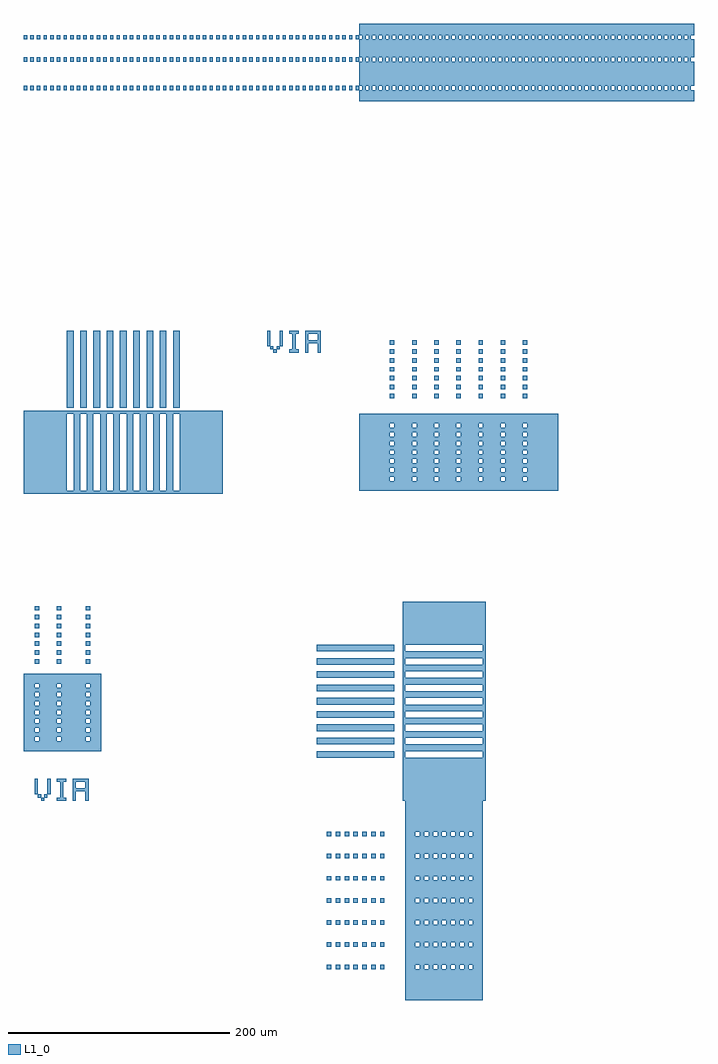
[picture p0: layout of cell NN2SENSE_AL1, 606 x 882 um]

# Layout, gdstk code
import gdstk
lib = gdstk.Library(unit=1e-6, precision=1e-09)
def R(c, l, rs):  # rectangles x0, y0, x1, y1
    for r in rs: c.add(gdstk.rectangle(r[:2], r[2:], *l))
def A(c, l, x, y, w, h, nx, ny, dx, dy):  # array of equal rectangles
    R(c, l, [(x+i*dx, y+j*dy, x+i*dx+w, y+j*dy+h) for i in range(nx) for j in range(ny)])
def P(c, l, *ps):  # polygons
    for p in ps: c.add(gdstk.Polygon(p, *l))
L1_0 = (1, 0)

x5_search_wx_n_skill_0 = lib.new_cell('x5_Search_Wx_N_SKILL_0')
A(x5_search_wx_n_skill_0, L1_0, -22, -26, 4, 4, 1, 7, 0, 8)
A(x5_search_wx_n_skill_0, L1_0, -2, -26, 4, 4, 1, 7, 0, 8)
A(x5_search_wx_n_skill_0, L1_0, 24, -26, 4, 4, 1, 7, 0, 8)

x5_search_wx_p_skill_1 = lib.new_cell('x5_Search_Wx_P_SKILL_1')
P(x5_search_wx_p_skill_1, L1_0, [(-32,-35),(38,-35),(38,35),(-32,35),(-32,26),(28,26),(28,22),(24,22),(24,26),(2,26),(2,22),(-2,22),(-2,26),(-18,26),(-18,22),(-22,22),(-22,26),(-32,26),(-32,18),(28,18),(28,14),(24,14),(24,18),(2,18),(2,14),(-2,14),(-2,18),(-18,18),(-18,14),(-22,14),(-22,18),(-32,18),(-32,10),(28,10),(28,6),(24,6),(24,10),(2,10),(2,6),(-2,6),(-2,10),(-18,10),(-18,6),(-22,6),(-22,10),(-32,10),(-32,2),(28,2),(28,-2),(24,-2),(24,2),(2,2),(2,-2),(-2,-2),(-2,2),(-18,2),(-18,-2),(-22,-2),(-22,2),(-32,2),(-32,-6),(28,-6),(28,-10),(24,-10),(24,-6),(2,-6),(2,-10),(-2,-10),(-2,-6),(-18,-6),(-18,-10),(-22,-10),(-22,-6),(-32,-6),(-32,-14),(28,-14),(28,-18),(24,-18),(24,-14),(2,-14),(2,-18),(-2,-18),(-2,-14),(-18,-14),(-18,-18),(-22,-18),(-22,-14),(-32,-14),(-32,-22),(28,-22),(28,-26),(24,-26),(24,-22),(2,-22),(2,-26),(-2,-26),(-2,-22),(-18,-22),(-18,-26),(-22,-26),(-22,-22),(-32,-22)])

x5_fiax_type1_n_skill_2 = lib.new_cell('x5_FIAx_Type1_N_SKILL_2')
A(x5_fiax_type1_n_skill_2, L1_0, -51, -35, 6, 70, 9, 1, 12, 0)

x5_fiax_type1_p_skill_3 = lib.new_cell('x5_FIAx_Type1_P_SKILL_3')
P(x5_fiax_type1_p_skill_3, L1_0, [(-90,-37.5),(90,-37.5),(90,37.5),(-90,37.5),(-90,35),(51,35),(51,-35),(45,-35),(45,35),(39,35),(39,-35),(33,-35),(33,35),(27,35),(27,-35),(21,-35),(21,35),(15,35),(15,-35),(9,-35),(9,35),(3,35),(3,-35),(-3,-35),(-3,35),(-9,35),(-9,-35),(-15,-35),(-15,35),(-21,35),(-21,-35),(-27,-35),(-27,35),(-33,35),(-33,-35),(-39,-35),(-39,35),(-45,35),(-45,-35),(-51,-35),(-51,35),(-90,35)])

x5_search_wy_n_skill_4 = lib.new_cell('x5_Search_Wy_N_SKILL_4')
A(x5_search_wy_n_skill_4, L1_0, -151.5, -28, 3, 4, 51, 2, 6, 26)
A(x5_search_wy_n_skill_4, L1_0, -151.5, 18, 3, 4, 51, 1, 6, 0)

x5_lsa7y_n_skill_5 = lib.new_cell('x5_LSA7y_N_SKILL_5')
A(x5_lsa7y_n_skill_5, L1_0, -26, -62, 4, 4, 7, 7, 8, 20)

x5_fiay_type1_n_skill_6 = lib.new_cell('x5_FIAy_Type1_N_SKILL_6')
A(x5_fiay_type1_n_skill_6, L1_0, -35, -51, 70, 6, 1, 9, 0, 12)
x5_fiay_type1_n_skill_6.add(gdstk.FlexPath([(-37.5,0),(37.5,0)], 0, ends="flush", simple_path=True, layer=1, datatype=0))  # L1_0

x5_lsa7y_p_skill_7 = lib.new_cell('x5_LSA7y_P_SKILL_7')
P(x5_lsa7y_p_skill_7, L1_0, [(35,2),(35,90),(-35,90),(-35,62),(26,62),(26,58),(22,58),(22,62),(18,62),(18,58),(14,58),(14,62),(10,62),(10,58),(6,58),(6,62),(2,62),(2,58),(-2,58),(-2,62),(-6,62),(-6,58),(-10,58),(-10,62),(-14,62),(-14,58),(-18,58),(-18,62),(-22,62),(-22,58),(-26,58),(-26,62),(-35,62),(-35,42),(26,42),(26,38),(22,38),(22,42),(18,42),(18,38),(14,38),(14,42),(10,42),(10,38),(6,38),(6,42),(2,42),(2,38),(-2,38),(-2,42),(-6,42),(-6,38),(-10,38),(-10,42),(-14,42),(-14,38),(-18,38),(-18,42),(-22,42),(-22,38),(-26,38),(-26,42),(-35,42),(-35,22),(26,22),(26,18),(22,18),(22,22),(18,22),(18,18),(14,18),(14,22),(10,22),(10,18),(6,18),(6,22),(2,22),(2,18),(-2,18),(-2,22),(-6,22),(-6,18),(-10,18),(-10,22),(-14,22),(-14,18),(-18,18),(-18,22),(-22,22),(-22,18),(-26,18),(-26,22),(-35,22),(-35,2)],
  [(-35,-90),(35,-90),(35,2),(26,2),(26,-2),(22,-2),(22,2),(18,2),(18,-2),(14,-2),(14,2),(10,2),(10,-2),(6,-2),(6,2),(2,2),(2,-2),(-2,-2),(-2,2),(-6,2),(-6,-2),(-10,-2),(-10,2),(-14,2),(-14,-2),(-18,-2),(-18,2),(-22,2),(-22,-2),(-26,-2),(-26,2),(-35,2),(-35,-18),(26,-18),(26,-22),(22,-22),(22,-18),(18,-18),(18,-22),(14,-22),(14,-18),(10,-18),(10,-22),(6,-22),(6,-18),(2,-18),(2,-22),(-2,-22),(-2,-18),(-6,-18),(-6,-22),(-10,-22),(-10,-18),(-14,-18),(-14,-22),(-18,-22),(-18,-18),(-22,-18),(-22,-22),(-26,-22),(-26,-18),(-35,-18),(-35,-38),(26,-38),(26,-42),(22,-42),(22,-38),(18,-38),(18,-42),(14,-42),(14,-38),(10,-38),(10,-42),(6,-42),(6,-38),(2,-38),(2,-42),(-2,-42),(-2,-38),(-6,-38),(-6,-42),(-10,-42),(-10,-38),(-14,-38),(-14,-42),(-18,-42),(-18,-38),(-22,-38),(-22,-42),(-26,-42),(-26,-38),(-35,-38),(-35,-58),(26,-58),(26,-62),(22,-62),(22,-58),(18,-58),(18,-62),(14,-62),(14,-58),(10,-58),(10,-62),(6,-62),(6,-58),(2,-58),(2,-62),(-2,-62),(-2,-58),(-6,-58),(-6,-62),(-10,-62),(-10,-58),(-14,-58),(-14,-62),(-18,-62),(-18,-58),(-22,-58),(-22,-62),(-26,-62),(-26,-58),(-35,-58)])

x5_fiay_type1_p_skill_8 = lib.new_cell('x5_FIAy_Type1_P_SKILL_8')
P(x5_fiay_type1_p_skill_8, L1_0, [(-37.5,-90),(37.5,-90),(37.5,90),(-37.5,90),(-37.5,51),(35,51),(35,45),(-35,45),(-35,51),(-37.5,51),(-37.5,39),(35,39),(35,33),(-35,33),(-35,39),(-37.5,39),(-37.5,27),(35,27),(35,21),(-35,21),(-35,27),(-37.5,27),(-37.5,15),(35,15),(35,9),(-35,9),(-35,15),(-37.5,15),(-37.5,3),(35,3),(35,-3),(-35,-3),(-35,3),(-37.5,3),(-37.5,-9),(35,-9),(35,-15),(-35,-15),(-35,-9),(-37.5,-9),(-37.5,-21),(35,-21),(35,-27),(-35,-27),(-35,-21),(-37.5,-21),(-37.5,-33),(35,-33),(35,-39),(-35,-39),(-35,-33),(-37.5,-33),(-37.5,-45),(35,-45),(35,-51),(-35,-51),(-35,-45),(-37.5,-45)])

x5_lsa7x_n_skill_9 = lib.new_cell('x5_LSA7x_N_SKILL_9')
A(x5_lsa7x_n_skill_9, L1_0, -62, -26, 4, 4, 7, 7, 20, 8)

x5_lsa7x_p_skill_10 = lib.new_cell('x5_LSA7x_P_SKILL_10')
P(x5_lsa7x_p_skill_10, L1_0, [(90,2),(90,35),(-90,35),(-90,26),(62,26),(62,22),(58,22),(58,26),(42,26),(42,22),(38,22),(38,26),(22,26),(22,22),(18,22),(18,26),(2,26),(2,22),(-2,22),(-2,26),(-18,26),(-18,22),(-22,22),(-22,26),(-38,26),(-38,22),(-42,22),(-42,26),(-58,26),(-58,22),(-62,22),(-62,26),(-90,26),(-90,18),(62,18),(62,14),(58,14),(58,18),(42,18),(42,14),(38,14),(38,18),(22,18),(22,14),(18,14),(18,18),(2,18),(2,14),(-2,14),(-2,18),(-18,18),(-18,14),(-22,14),(-22,18),(-38,18),(-38,14),(-42,14),(-42,18),(-58,18),(-58,14),(-62,14),(-62,18),(-90,18),(-90,10),(62,10),(62,6),(58,6),(58,10),(42,10),(42,6),(38,6),(38,10),(22,10),(22,6),(18,6),(18,10),(2,10),(2,6),(-2,6),(-2,10),(-18,10),(-18,6),(-22,6),(-22,10),(-38,10),(-38,6),(-42,6),(-42,10),(-58,10),(-58,6),(-62,6),(-62,10),(-90,10),(-90,2)],
  [(-90,-35),(90,-35),(90,2),(62,2),(62,-2),(58,-2),(58,2),(42,2),(42,-2),(38,-2),(38,2),(22,2),(22,-2),(18,-2),(18,2),(2,2),(2,-2),(-2,-2),(-2,2),(-18,2),(-18,-2),(-22,-2),(-22,2),(-38,2),(-38,-2),(-42,-2),(-42,2),(-58,2),(-58,-2),(-62,-2),(-62,2),(-90,2),(-90,-6),(62,-6),(62,-10),(58,-10),(58,-6),(42,-6),(42,-10),(38,-10),(38,-6),(22,-6),(22,-10),(18,-10),(18,-6),(2,-6),(2,-10),(-2,-10),(-2,-6),(-18,-6),(-18,-10),(-22,-10),(-22,-6),(-38,-6),(-38,-10),(-42,-10),(-42,-6),(-58,-6),(-58,-10),(-62,-10),(-62,-6),(-90,-6),(-90,-14),(62,-14),(62,-18),(58,-18),(58,-14),(42,-14),(42,-18),(38,-18),(38,-14),(22,-14),(22,-18),(18,-18),(18,-14),(2,-14),(2,-18),(-2,-18),(-2,-14),(-18,-14),(-18,-18),(-22,-18),(-22,-14),(-38,-14),(-38,-18),(-42,-18),(-42,-14),(-58,-14),(-58,-18),(-62,-18),(-62,-14),(-90,-14),(-90,-22),(62,-22),(62,-26),(58,-26),(58,-22),(42,-22),(42,-26),(38,-26),(38,-22),(22,-22),(22,-26),(18,-26),(18,-22),(2,-22),(2,-26),(-2,-26),(-2,-22),(-18,-22),(-18,-26),(-22,-26),(-22,-22),(-38,-22),(-38,-26),(-42,-26),(-42,-22),(-58,-22),(-58,-26),(-62,-26),(-62,-22),(-90,-22)])

x5_search_wy_p_skill_11 = lib.new_cell('x5_Search_Wy_P_SKILL_11')
P(x5_search_wy_p_skill_11, L1_0, [(-109.5,-38),(-109.5,-28),(-106.5,-28),(-106.5,-24),(-103.5,-24),(-103.5,-28),(-100.5,-28),(-100.5,-24),(-97.5,-24),(-97.5,-28),(-94.5,-28),(-94.5,-24),(-91.5,-24),(-91.5,-28),(-88.5,-28),(-88.5,-24),(-85.5,-24),(-85.5,-28),(-82.5,-28),(-82.5,-24),(-79.5,-24),(-79.5,-28),(-76.5,-28),(-76.5,-24),(-73.5,-24),(-73.5,-28),(-70.5,-28),(-70.5,-24),(-67.5,-24),(-67.5,-28),(-64.5,-28),(-64.5,-24),(-61.5,-24),(-61.5,-28),(-58.5,-28),(-58.5,-24),(-55.5,-24),(-55.5,-28),(-52.5,-28),(-52.5,-24),(-49.5,-24),(-49.5,-28),(-46.5,-28),(-46.5,-24),(-43.5,-24),(-43.5,-28),(-40.5,-28),(-40.5,-24),(-37.5,-24),(-37.5,-28),(-34.5,-28),(-34.5,-24),(-31.5,-24),(-31.5,-28),(-28.5,-28),(-28.5,-24),(-25.5,-24),(-25.5,-28),(-22.5,-28),(-22.5,-24),(-19.5,-24),(-19.5,-28),(-16.5,-28),(-16.5,-24),(-13.5,-24),(-13.5,-28),(-10.5,-28),(-10.5,-24),(-7.5,-24),(-7.5,-28),(-4.5,-28),(-4.5,-24),(-1.5,-24),(-1.5,-28),(1.5,-28),(1.5,-24),(4.5,-24),(4.5,-28),(7.5,-28),(7.5,-24),(10.5,-24),(10.5,-28),(13.5,-28),(13.5,-24),(16.5,-24),(16.5,-28),(19.5,-28),(19.5,-24),(22.5,-24),(22.5,-28),(25.5,-28),(25.5,-24),(28.5,-24),(28.5,-28),(31.5,-28),(31.5,-24),(34.5,-24),(34.5,-28),(37.5,-28),(37.5,-24),(40.5,-24),(40.5,-28),(43.5,-28),(43.5,-24),(46.5,-24),(46.5,-28),(49.5,-28),(49.5,-24),(52.5,-24),(52.5,-28),(55.5,-28),(55.5,-24),(58.5,-24),(58.5,-28),(61.5,-28),(61.5,-24),(64.5,-24),(64.5,-28),(67.5,-28),(67.5,-24),(70.5,-24),(70.5,-28),(73.5,-28),(73.5,-24),(76.5,-24),(76.5,-28),(79.5,-28),(79.5,-24),(82.5,-24),(82.5,-28),(85.5,-28),(85.5,-24),(88.5,-24),(88.5,-28),(91.5,-28),(91.5,-24),(94.5,-24),(94.5,-28),(97.5,-28),(97.5,-24),(100.5,-24),(100.5,-28),(103.5,-28),(103.5,-24),(106.5,-24),(106.5,-28),(109.5,-28),(109.5,-24),(112.5,-24),(112.5,-28),(115.5,-28),(115.5,-24),(118.5,-24),(118.5,-28),(121.5,-28),(121.5,-24),(124.5,-24),(124.5,-28),(127.5,-28),(127.5,-24),(130.5,-24),(130.5,-28),(133.5,-28),(133.5,-24),(136.5,-24),(136.5,-28),(139.5,-28),(139.5,-24),(142.5,-24),(142.5,-28),(145.5,-28),(145.5,-24),(148.5,-24),(148.5,-28),(151.5,-28),(151.5,-38)],
  [(-151.5,2),(82.5,2),(82.5,22),(79.5,22),(79.5,18),(76.5,18),(76.5,22),(73.5,22),(73.5,18),(70.5,18),(70.5,22),(67.5,22),(67.5,18),(64.5,18),(64.5,22),(61.5,22),(61.5,18),(58.5,18),(58.5,22),(55.5,22),(55.5,18),(52.5,18),(52.5,22),(49.5,22),(49.5,18),(46.5,18),(46.5,22),(43.5,22),(43.5,18),(40.5,18),(40.5,22),(37.5,22),(37.5,18),(34.5,18),(34.5,22),(31.5,22),(31.5,18),(28.5,18),(28.5,22),(25.5,22),(25.5,18),(22.5,18),(22.5,22),(19.5,22),(19.5,18),(16.5,18),(16.5,22),(13.5,22),(13.5,18),(10.5,18),(10.5,22),(7.5,22),(7.5,18),(4.5,18),(4.5,22),(1.5,22),(1.5,18),(-1.5,18),(-1.5,22),(-4.5,22),(-4.5,18),(-7.5,18),(-7.5,22),(-10.5,22),(-10.5,18),(-13.5,18),(-13.5,22),(-16.5,22),(-16.5,18),(-19.5,18),(-19.5,22),(-22.5,22),(-22.5,18),(-25.5,18),(-25.5,22),(-28.5,22),(-28.5,18),(-31.5,18),(-31.5,22),(-34.5,22),(-34.5,18),(-37.5,18),(-37.5,22),(-40.5,22),(-40.5,18),(-43.5,18),(-43.5,22),(-46.5,22),(-46.5,18),(-49.5,18),(-49.5,22),(-52.5,22),(-52.5,18),(-55.5,18),(-55.5,22),(-58.5,22),(-58.5,18),(-61.5,18),(-61.5,22),(-64.5,22),(-64.5,18),(-67.5,18),(-67.5,22),(-70.5,22),(-70.5,18),(-73.5,18),(-73.5,22),(-76.5,22),(-76.5,18),(-79.5,18),(-79.5,22),(-82.5,22),(-82.5,18),(-85.5,18),(-85.5,22),(-88.5,22),(-88.5,18),(-91.5,18),(-91.5,22),(-94.5,22),(-94.5,18),(-97.5,18),(-97.5,22),(-100.5,22),(-100.5,18),(-103.5,18),(-103.5,22),(-106.5,22),(-106.5,18),(-109.5,18),(-109.5,22),(-112.5,22),(-112.5,18),(-115.5,18),(-115.5,22),(-118.5,22),(-118.5,18),(-121.5,18),(-121.5,22),(-124.5,22),(-124.5,18),(-127.5,18),(-127.5,22),(-130.5,22),(-130.5,18),(-133.5,18),(-133.5,22),(-136.5,22),(-136.5,18),(-139.5,18),(-139.5,22),(-142.5,22),(-142.5,18),(-145.5,18),(-145.5,22),(-148.5,22),(-148.5,18),(-151.5,18)],
  [(82.5,2),(151.5,2),(151.5,18),(148.5,18),(148.5,22),(151.5,22),(151.5,32),(-151.5,32),(-151.5,22),(145.5,22),(145.5,18),(142.5,18),(142.5,22),(139.5,22),(139.5,18),(136.5,18),(136.5,22),(133.5,22),(133.5,18),(130.5,18),(130.5,22),(127.5,22),(127.5,18),(124.5,18),(124.5,22),(121.5,22),(121.5,18),(118.5,18),(118.5,22),(115.5,22),(115.5,18),(112.5,18),(112.5,22),(109.5,22),(109.5,18),(106.5,18),(106.5,22),(103.5,22),(103.5,18),(100.5,18),(100.5,22),(97.5,22),(97.5,18),(94.5,18),(94.5,22),(91.5,22),(91.5,18),(88.5,18),(88.5,22),(85.5,22),(85.5,18),(82.5,18)],
  [(-13.5,-24),(151.5,-24),(151.5,-2),(148.5,-2),(148.5,2),(145.5,2),(145.5,-2),(142.5,-2),(142.5,2),(139.5,2),(139.5,-2),(136.5,-2),(136.5,2),(133.5,2),(133.5,-2),(130.5,-2),(130.5,2),(127.5,2),(127.5,-2),(124.5,-2),(124.5,2),(121.5,2),(121.5,-2),(118.5,-2),(118.5,2),(115.5,2),(115.5,-2),(112.5,-2),(112.5,2),(109.5,2),(109.5,-2),(106.5,-2),(106.5,2),(103.5,2),(103.5,-2),(100.5,-2),(100.5,2),(97.5,2),(97.5,-2),(94.5,-2),(94.5,2),(91.5,2),(91.5,-2),(88.5,-2),(88.5,2),(85.5,2),(85.5,-2),(82.5,-2),(82.5,2),(79.5,2),(79.5,-2),(76.5,-2),(76.5,2),(73.5,2),(73.5,-2),(70.5,-2),(70.5,2),(67.5,2),(67.5,-2),(64.5,-2),(64.5,2),(61.5,2),(61.5,-2),(58.5,-2),(58.5,2),(55.5,2),(55.5,-2),(52.5,-2),(52.5,2),(49.5,2),(49.5,-2),(46.5,-2),(46.5,2),(43.5,2),(43.5,-2),(40.5,-2),(40.5,2),(37.5,2),(37.5,-2),(34.5,-2),(34.5,2),(31.5,2),(31.5,-2),(28.5,-2),(28.5,2),(25.5,2),(25.5,-2),(22.5,-2),(22.5,2),(19.5,2),(19.5,-2),(16.5,-2),(16.5,2),(13.5,2),(13.5,-2),(10.5,-2),(10.5,2),(7.5,2),(7.5,-2),(4.5,-2),(4.5,2),(1.5,2),(1.5,-2),(-1.5,-2),(-1.5,2),(-4.5,2),(-4.5,-2),(-7.5,-2),(-7.5,2),(-10.5,2),(-10.5,-2),(-13.5,-2)],
  [(-151.5,-38),(-109.5,-38),(-109.5,-24),(-13.5,-24),(-13.5,2),(-16.5,2),(-16.5,-2),(-19.5,-2),(-19.5,2),(-22.5,2),(-22.5,-2),(-25.5,-2),(-25.5,2),(-28.5,2),(-28.5,-2),(-31.5,-2),(-31.5,2),(-34.5,2),(-34.5,-2),(-37.5,-2),(-37.5,2),(-40.5,2),(-40.5,-2),(-43.5,-2),(-43.5,2),(-46.5,2),(-46.5,-2),(-49.5,-2),(-49.5,2),(-52.5,2),(-52.5,-2),(-55.5,-2),(-55.5,2),(-58.5,2),(-58.5,-2),(-61.5,-2),(-61.5,2),(-64.5,2),(-64.5,-2),(-67.5,-2),(-67.5,2),(-70.5,2),(-70.5,-2),(-73.5,-2),(-73.5,2),(-76.5,2),(-76.5,-2),(-79.5,-2),(-79.5,2),(-82.5,2),(-82.5,-2),(-85.5,-2),(-85.5,2),(-88.5,2),(-88.5,-2),(-91.5,-2),(-91.5,2),(-94.5,2),(-94.5,-2),(-97.5,-2),(-97.5,2),(-100.5,2),(-100.5,-2),(-103.5,-2),(-103.5,2),(-106.5,2),(-106.5,-2),(-109.5,-2),(-109.5,2),(-112.5,2),(-112.5,-2),(-115.5,-2),(-115.5,2),(-118.5,2),(-118.5,-2),(-121.5,-2),(-121.5,2),(-124.5,2),(-124.5,-2),(-127.5,-2),(-127.5,2),(-130.5,2),(-130.5,-2),(-133.5,-2),(-133.5,2),(-136.5,2),(-136.5,-2),(-139.5,-2),(-139.5,2),(-142.5,2),(-142.5,-2),(-145.5,-2),(-145.5,2),(-148.5,2),(-148.5,-2),(-151.5,-2),(-151.5,-24),(-112.5,-24),(-112.5,-28),(-115.5,-28),(-115.5,-24),(-118.5,-24),(-118.5,-28),(-121.5,-28),(-121.5,-24),(-124.5,-24),(-124.5,-28),(-127.5,-28),(-127.5,-24),(-130.5,-24),(-130.5,-28),(-133.5,-28),(-133.5,-24),(-136.5,-24),(-136.5,-28),(-139.5,-28),(-139.5,-24),(-142.5,-24),(-142.5,-28),(-145.5,-28),(-145.5,-24),(-148.5,-24),(-148.5,-28),(-151.5,-28)])

display_skill_12 = lib.new_cell('Display_skill_12')
A(display_skill_12, L1_0, 20, 0, 2.857, 2.857, 3, 2, 2.857, 17.143)
A(display_skill_12, L1_0, 34.286, 0, 2.857, 2.857, 1, 3, 0, 2.857)
A(display_skill_12, L1_0, 45.714, 0, 2.857, 2.857, 1, 3, 0, 2.857)
A(display_skill_12, L1_0, 34.286, 8.571, 2.857, 2.858, 5, 1, 2.857, 0)
A(display_skill_12, L1_0, 0, 11.429, 2.857, 2.857, 1, 3, 0, 2.857)
A(display_skill_12, L1_0, 11.429, 11.429, 2.857, 2.857, 1, 3, 0, 2.857)
A(display_skill_12, L1_0, 34.286, 17.143, 2.857, 2.857, 5, 1, 2.857, 0)
R(display_skill_12, L1_0, [(5.714,0,8.571,2.857), (2.857,2.857,5.714,5.714), (8.571,2.857,11.429,5.714), (22.857,2.857,25.714,5.714), (0,5.714,2.857,8.571), (11.429,5.714,14.286,8.571), (22.857,5.714,25.714,8.571), (0,8.571,2.857,11.429), (11.429,8.571,14.286,11.429), (22.857,8.571,25.714,11.429), (22.857,11.429,25.714,14.286), (34.286,11.429,37.143,14.286), (45.714,11.429,48.571,14.286), (22.857,14.286,25.714,17.143), (34.286,14.286,37.143,17.143), (45.714,14.286,48.571,17.143)])

nn2sense_al1 = lib.new_cell('NN2SENSE_AL1')
nn2sense_al1.add(gdstk.Reference(x5_search_wx_n_skill_0, (-338.7,-25.4)))
nn2sense_al1.add(gdstk.Reference(x5_search_wx_p_skill_1, (-338.7,-95.4)))
nn2sense_al1.add(gdstk.Reference(x5_fiax_type1_n_skill_2, (-280.7,214.6)))
nn2sense_al1.add(gdstk.Reference(x5_fiax_type1_p_skill_3, (-280.7,139.6)))
nn2sense_al1.add(gdstk.Reference(x5_search_wy_n_skill_4, (-219.2,494.6)))
nn2sense_al1.add(gdstk.Reference(x5_lsa7y_n_skill_5, (-70.7,-265.4)))
nn2sense_al1.add(gdstk.Reference(x5_fiay_type1_n_skill_6, (-70.7,-85.4)))
nn2sense_al1.add(gdstk.Reference(x5_lsa7y_p_skill_7, (9.3,-265.4)))
nn2sense_al1.add(gdstk.Reference(x5_fiay_type1_p_skill_8, (9.3,-85.4)))
nn2sense_al1.add(gdstk.Reference(x5_lsa7x_n_skill_9, (22.3,214.6)))
nn2sense_al1.add(gdstk.Reference(x5_lsa7x_p_skill_10, (22.3,139.6)))
nn2sense_al1.add(gdstk.Reference(x5_search_wy_p_skill_11, (83.8,494.6)))
nn2sense_al1.add(gdstk.Reference(display_skill_12, (-150.7,229.6)))
nn2sense_al1.add(gdstk.Reference(display_skill_12, (-360.7,-175.4)))

lib.write_gds('NN2SENSE_AL1.gds')
